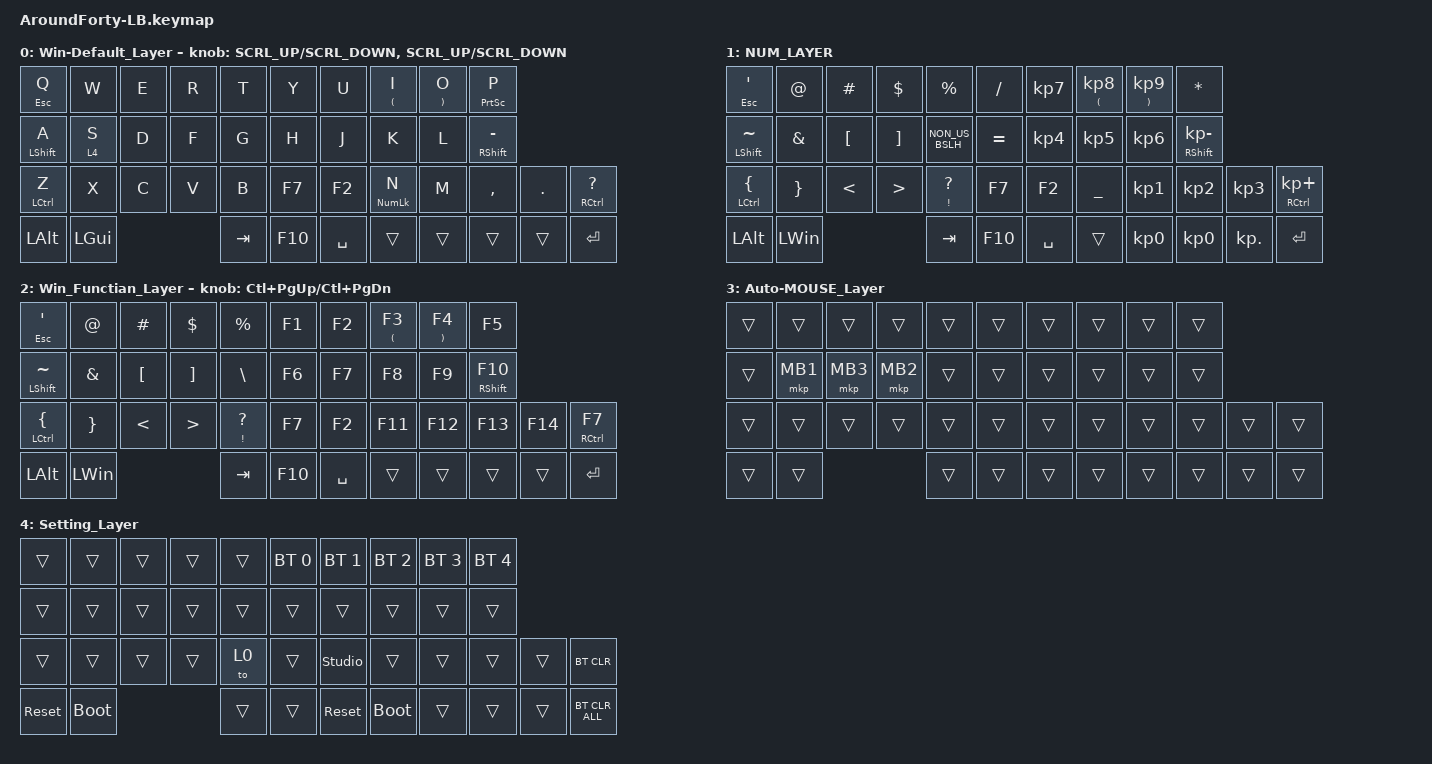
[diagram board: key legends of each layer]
#include <behaviors.dtsi>
#include <dt-bindings/zmk/bt.h>
#include <dt-bindings/zmk/keys.h>
#include <dt-bindings/zmk/pointing.h>

#undef ZMK_POINTING_DEFAULT_SCRL_VAL

#define ZMK_POINTING_DEFAULT_SCRL_VAL 100
#define MOUSE 6

&mt {
    flavor = "balanced";
    quick-tap-ms = <0>;
};

/ {
    //コンボ設定

    combos {
        compatible = "zmk,combos";

        copy {
            bindings = <&kp LC(C)>;
            key-positions = <5 7>;
        };

        cut {
            bindings = <&kp LC(X)>;
            key-positions = <5 6>;
        };

        paste {
            bindings = <&kp LC(V)>;
            key-positions = <5 8>;
        };

        del {
            bindings = <&kp DEL>;
            key-positions = <8 9>;
        };

        bs {
            bindings = <&kp BACKSPACE>;
            key-positions = <18 19>;
        };

        fun {
            bindings = <&to 2>;
            key-positions = <16 17>;
        };

        lang1 {
            bindings = <&kp LANG1>;
            key-positions = <30 31>;
        };

        lang2 {
            bindings = <&kp LANG2>;
            key-positions = <27 26>;
        };

        num {
            bindings = <&to 1>;
            key-positions = <40 39>;
        };

        default {
            bindings = <&to 0>;
            key-positions = <15 16>;
        };

        back {
            bindings = <&kp LC(Z)>;
            key-positions = <6 7>;
        };

        foward {
            bindings = <&kp LC(Y)>;
            key-positions = <7 8>;
        };

        cap {
            bindings = <&kp CAPS>;
            key-positions = <20 10>;
        };

        left {
            bindings = <&kp LEFT>;
            key-positions = <36 37>;
        };

        up {
            bindings = <&kp UP>;
            key-positions = <27 28>;
        };

        right {
            bindings = <&kp RIGHT>;
            key-positions = <38 39>;
        };

        down {
            bindings = <&kp DOWN>;
            key-positions = <37 38>;
        };
    };

    //マクロ(既存のキーの組み合わせ)

    macros {
        to_layer_0: to_layer_0 {
            compatible = "zmk,behavior-macro-one-param";
            #binding-cells = <1>;
            bindings = <&to 0 &macro_param_1to1 &kp MACRO_PLACEHOLDER>;
            label = "TO_LAYER_0";
        };
    };

    //新たな動作を定義する

    behaviors {
        lt_to_layer_0: lt_to_layer_0 {
            compatible = "zmk,behavior-hold-tap";
            label = "LAYER_TAP_TO_0";
            bindings = <&mo>, <&to_layer_0>;

            #binding-cells = <2>;
            tapping-term-ms = <200>;
        };

        mouse_scroll: mouse_wheel_scrl {
            compatible = "zmk,behavior-sensor-rotate-var";
            #sensor-binding-cells = <2>;
            bindings = <&msc>, <&msc>;

            tap-ms = <20>;
        };
    };

    //キーマップ設定

    keymap {
        compatible = "zmk,keymap";

        Win-Default_Layer {
            bindings = <
&mt ESC Q    &kp W         &kp E  &kp R  &kp T      &kp Y    &kp U      &mt LEFT_PARENTHESIS I  &mt RIGHT_PARENTHESIS O  &mt PRINTSCREEN P
&mt LSHFT A  &lt 4 S       &kp D  &kp F  &kp G      &kp H    &kp J      &kp K                   &kp L                    &mt RSHFT MINUS
&mt LCTRL Z  &kp X         &kp C  &kp V  &kp B      &kp F7   &kp F2     &mt KP_NUM N            &kp M                    &kp COMMA          &kp PERIOD  &mt RCTRL QUESTION
&kp LALT     &kp LEFT_GUI                &kp TAB    &kp F10  &kp SPACE  &trans                  &trans                   &trans             &trans      &kp ENTER
            >;

            sensor-bindings =
                <&mouse_scroll SCRL_UP SCRL_DOWN>,
                <&mouse_scroll SCRL_UP SCRL_DOWN>;
        };

        NUM_LAYER {
            bindings = <
&mt ESC APOS          &kp AT_SIGN      &kp POUND      &kp DOLLAR        &kp PERCENT                 &kp SLASH  &kp KP_N7  &mt LEFT_PARENTHESIS KP_N8  &mt RIGHT_PARENTHESIS KP_N9  &kp ASTRK
&mt LEFT_SHIFT TILDE  &kp AMPERSAND    &kp LBKT       &kp RBKT          &kp NON_US_BSLH             &kp EQUAL  &kp KP_N4  &kp KP_N5                   &kp KP_N6                    &mt RSHFT KP_MINUS
&mt LCTRL LEFT_BRACE  &kp RIGHT_BRACE  &kp LESS_THAN  &kp GREATER_THAN  &mt EXCLAMATION QUESTION    &kp F7     &kp F2     &kp UNDERSCORE              &kp KP_N1                    &kp KP_N2           &kp KP_N3   &mt RCTRL KP_PLUS
&kp LALT              &kp LEFT_WIN                                      &kp TAB                     &kp F10    &kp SPACE  &trans                      &kp KP_N0                    &kp KP_N0           &kp KP_DOT  &kp ENTER
            >;
        };

        Win_Functian_Layer {
            bindings = <
&mt ESC SINGLE_QUOTE         &kp AT_SIGN      &kp POUND         &kp DOLLAR        &kp PERCENT                 &kp F1   &kp F2     &mt LEFT_PARENTHESIS F3  &mt RIGHT_PARENTHESIS F4  &kp F5
&mt LSHFT TILDE              &kp AMPERSAND    &kp LEFT_BRACKET  &kp RBKT          &kp BSLH                    &kp F6   &kp F7     &kp F8                   &kp F9                    &mt RSHIFT F10
&mt LEFT_CONTROL LEFT_BRACE  &kp RIGHT_BRACE  &kp LESS_THAN     &kp GREATER_THAN  &mt EXCLAMATION QUESTION    &kp F7   &kp F2     &kp F11                  &kp F12                   &kp F13         &kp F14  &mt RCTRL F7
&kp LEFT_ALT                 &kp LEFT_WIN                                         &kp TAB                     &kp F10  &kp SPACE  &trans                   &trans                    &trans          &trans   &kp ENTER
            >;

            sensor-bindings = <&inc_dec_kp LC(PAGE_UP) LC(PAGE_DOWN)>;
        };

        Auto-MOUSE_Layer {
            bindings = <
&trans  &trans    &trans    &trans    &trans    &trans  &trans  &trans  &trans  &trans
&trans  &mkp MB1  &mkp MB3  &mkp MB2  &trans    &trans  &trans  &trans  &trans  &trans
&trans  &trans    &trans    &trans    &trans    &trans  &trans  &trans  &trans  &trans  &trans  &trans
&trans  &trans                        &trans    &trans  &trans  &trans  &trans  &trans  &trans  &trans
            >;
        };

        Setting_Layer {
            bindings = <
&trans      &trans       &trans  &trans  &trans    &bt BT_SEL 0  &bt BT_SEL 1    &bt BT_SEL 2  &bt BT_SEL 3  &bt BT_SEL 4
&trans      &trans       &trans  &trans  &trans    &trans        &trans          &trans        &trans        &trans
&trans      &trans       &trans  &trans  &to 0     &trans        &studio_unlock  &trans        &trans        &trans        &trans  &bt BT_CLR
&sys_reset  &bootloader                  &trans    &trans        &sys_reset      &bootloader   &trans        &trans        &trans  &bt BT_CLR_ALL
            >;
        };
    };
};
